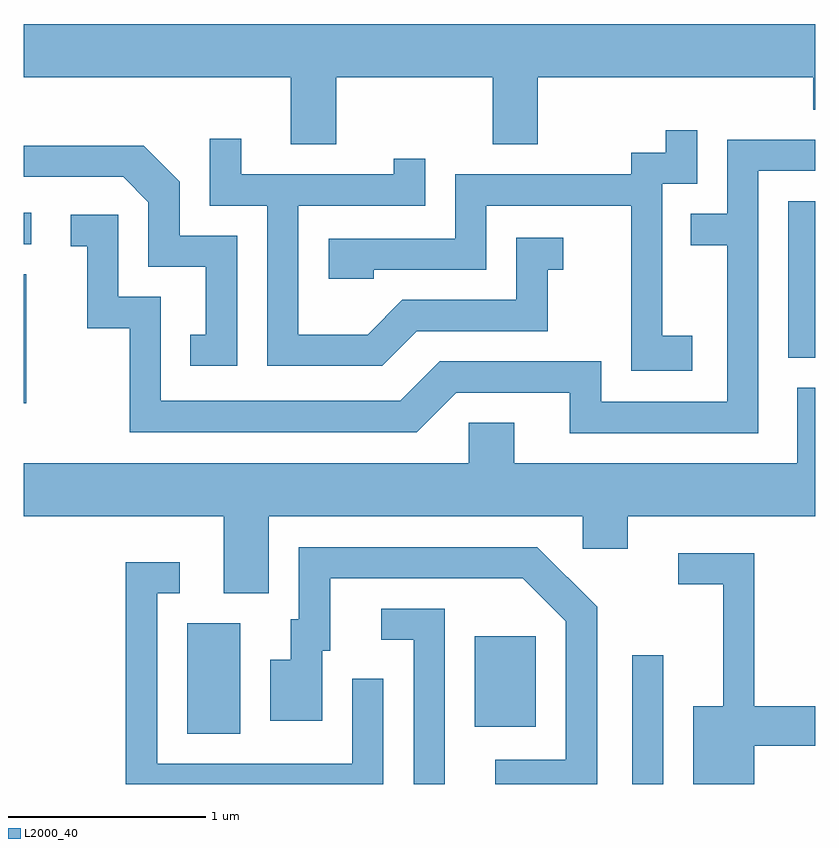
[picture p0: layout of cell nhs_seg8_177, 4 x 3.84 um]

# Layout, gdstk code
import gdstk
lib = gdstk.Library(unit=1e-6, precision=1e-09)
def R(c, l, rs):  # rectangles x0, y0, x1, y1
    for r in rs: c.add(gdstk.rectangle(r[:2], r[2:], *l))
def P(c, l, *ps):  # polygons
    for p in ps: c.add(gdstk.Polygon(p, *l))
L2000_40 = (2000, 40)

nhs_seg8_177 = lib.new_cell('nhs_seg8_177')
R(nhs_seg8_177, L2000_40, [(192.686,1888.342,192.844,1888.993), (190.436,1888.596,190.704,1889.154), (191.891,1888.631,192.199,1889.089), (189.611,1890.266,189.624,1890.919), (193.476,1890.496,193.611,1891.289), (189.611,1891.071,189.648,1891.229)])
P(nhs_seg8_177, L2000_40, [(191.189,1891.916),(191.981,1891.916),(191.981,1891.576),(192.209,1891.576),(192.209,1891.916),(193.601,1891.916),(193.601,1891.751),(193.611,1891.751),(193.611,1892.184),(189.611,1892.184),(189.611,1891.916),(190.961,1891.916),(190.961,1891.576),(191.189,1891.576)],
  [(192.989,1890.609),(192.839,1890.609),(192.839,1891.376),(193.014,1891.376),(193.014,1891.648),(192.856,1891.648),(192.856,1891.534),(192.681,1891.534),(192.681,1891.424),(191.791,1891.424),(191.791,1891.099),(191.151,1891.099),(191.151,1890.896),(191.379,1890.896),(191.379,1890.941),(191.949,1890.941),(191.949,1891.266),(192.681,1891.266),(192.681,1890.431),(192.989,1890.431)],
  [(191.597,1890.631),(192.259,1890.631),(192.259,1890.941),(192.338,1890.941),(192.338,1891.104),(192.101,1891.104),(192.101,1890.789),(191.524,1890.789),(191.349,1890.614),(190.999,1890.614),(190.999,1891.266),(191.639,1891.266),(191.639,1891.503),(191.481,1891.503),(191.481,1891.424),(190.709,1891.424),(190.709,1891.603),(190.551,1891.603),(190.551,1891.266),(190.841,1891.266),(190.841,1890.456),(191.422,1890.456)],
  [(193.324,1891.441),(193.611,1891.441),(193.611,1891.599),(193.166,1891.599),(193.166,1891.224),(192.983,1891.224),(192.983,1891.066),(193.166,1891.066),(193.166,1890.274),(192.529,1890.274),(192.529,1890.479),(191.714,1890.479),(191.514,1890.279),(190.304,1890.279),(190.304,1890.804),(190.089,1890.804),(190.089,1891.219),(189.848,1891.219),(189.848,1891.061),(189.931,1891.061),(189.931,1890.646),(190.146,1890.646),(190.146,1890.121),(191.597,1890.121),(191.797,1890.321),(192.371,1890.321),(192.371,1890.116),(193.324,1890.116)],
  [(190.689,1891.114),(190.399,1891.114),(190.399,1891.387),(190.217,1891.569),(189.611,1891.569),(189.611,1891.411),(190.114,1891.411),(190.241,1891.284),(190.241,1890.956),(190.531,1890.956),(190.531,1890.614),(190.453,1890.614),(190.453,1890.456),(190.689,1890.456)],
  [(190.849,1889.696),(192.436,1889.696),(192.436,1889.531),(192.664,1889.531),(192.664,1889.696),(193.611,1889.696),(193.611,1890.344),(193.521,1890.344),(193.521,1889.964),(192.089,1889.964),(192.089,1890.169),(191.861,1890.169),(191.861,1889.964),(189.611,1889.964),(189.611,1889.696),(190.621,1889.696),(190.621,1889.306),(190.849,1889.306)],
  [(192.509,1889.237),(192.207,1889.539),(191.001,1889.539),(191.001,1889.174),(190.961,1889.174),(190.961,1888.969),(190.856,1888.969),(190.856,1888.661),(191.119,1888.661),(191.119,1889.016),(191.159,1889.016),(191.159,1889.381),(192.134,1889.381),(192.351,1889.164),(192.351,1888.464),(191.993,1888.464),(191.993,1888.342),(192.509,1888.342)],
  [(193.304,1888.536),(193.611,1888.536),(193.611,1888.734),(193.304,1888.734),(193.304,1889.509),(192.918,1889.509),(192.918,1889.351),(193.146,1889.351),(193.146,1888.734),(192.996,1888.734),(192.996,1888.342),(193.304,1888.342)],
  [(191.429,1888.873),(191.271,1888.873),(191.271,1888.444),(190.284,1888.444),(190.284,1889.306),(190.398,1889.306),(190.398,1889.464),(190.126,1889.464),(190.126,1888.342),(191.429,1888.342)],
  [(191.739,1889.229),(191.418,1889.229),(191.418,1889.071),(191.581,1889.071),(191.581,1888.342),(191.739,1888.342)])

lib.write_gds('nhs_seg8_177.gds')
